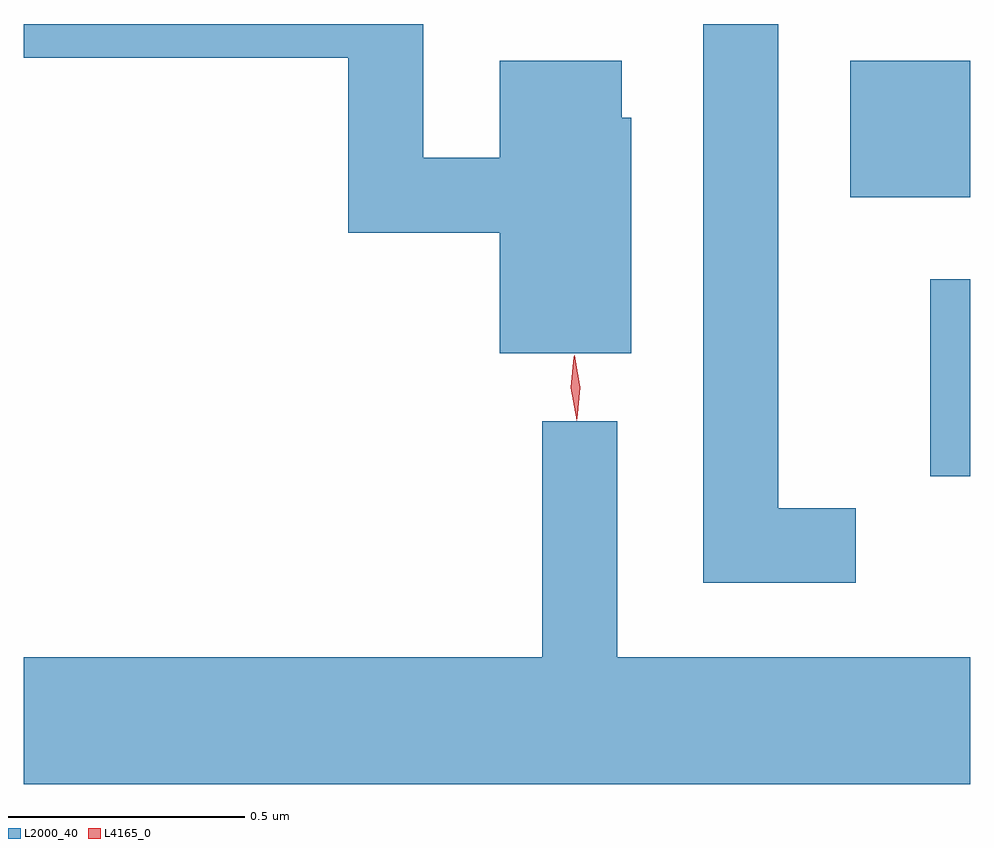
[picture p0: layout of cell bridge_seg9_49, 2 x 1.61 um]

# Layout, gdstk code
import gdstk
lib = gdstk.Library(unit=1e-6, precision=1e-09)
def R(c, l, rs):  # rectangles x0, y0, x1, y1
    for r in rs: c.add(gdstk.rectangle(r[:2], r[2:], *l))
def P(c, l, *ps):  # polygons
    for p in ps: c.add(gdstk.Polygon(p, *l))
L2000_40 = (2000, 40)
L4165_0 = (4165, 0)

bridge_seg9_49 = lib.new_cell('bridge_seg9_49')
R(bridge_seg9_49, L2000_40, [(1676.566,2003.566,1676.65,2003.983), (1676.396,2004.156,1676.65,2004.444)])
P(bridge_seg9_49, L2000_40, [(1676.408,2003.499),(1676.244,2003.499),(1676.244,2004.522),(1676.086,2004.522),(1676.086,2003.341),(1676.408,2003.341)],
  [(1675.934,2004.324),(1675.914,2004.324),(1675.914,2004.444),(1675.656,2004.444),(1675.656,2004.239),(1675.494,2004.239),(1675.494,2004.522),(1674.65,2004.522),(1674.65,2004.451),(1675.336,2004.451),(1675.336,2004.081),(1675.656,2004.081),(1675.656,2003.826),(1675.934,2003.826)],
  [(1676.65,2003.184),(1675.904,2003.184),(1675.904,2003.683),(1675.746,2003.683),(1675.746,2003.184),(1674.65,2003.184),(1674.65,2002.916),(1676.65,2002.916)])
P(bridge_seg9_49, L4165_0, [(1675.818,2003.684),(1675.818,2003.685),(1675.806,2003.753),(1675.813,2003.821),(1675.814,2003.822),(1675.814,2003.821),(1675.826,2003.753),(1675.818,2003.685)],
  [(1675.819,2003.688),(1675.819,2003.688),(1675.806,2003.753),(1675.812,2003.819),(1675.813,2003.819),(1675.813,2003.819),(1675.826,2003.754),(1675.82,2003.688)])

lib.write_gds('bridge_seg9_49.gds')
